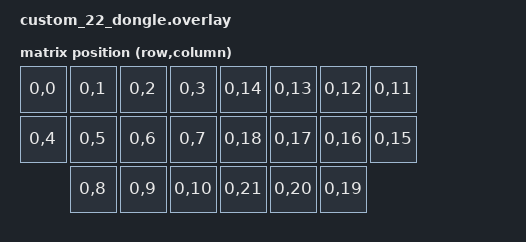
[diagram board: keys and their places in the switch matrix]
#include <dt-bindings/zmk/matrix_transform.h>

/ {
    chosen {
        zmk,matrix_transform = &default_transform;
        zmk,kscan = &kscan0;
        zephyr,display = &oled;
    };

    default_transform: keymap_transform_0 {
        compatible = "zmk,matrix-transform";
        columns = <22>;
        rows = <1>;
        map = <
        RC(0,0)  RC(0,1)  RC(0,2)  RC(0,3)   RC(0,14)  RC(0,13)  RC(0,12)  RC(0,11)
        RC(0,4)  RC(0,5)  RC(0,6)  RC(0,7)   RC(0,18)  RC(0,17)  RC(0,16)  RC(0,15)
                 RC(0,8)  RC(0,9)  RC(0,10)  RC(0,21)  RC(0,20)  RC(0,19)
        >;
    };
    
    kscan0: kscan {
        compatible = "zmk,kscan-mock";
        label = "KSCAN";
        columns = <1>;
        rows = <0>;
        events = <>;
    };
};

&xiao_i2c {
    status = "okay";

    oled: ssd1306@3c {
        compatible = "solomon,ssd1306fb";
        reg = <0x3c>;
        label = "DISPLAY";
        width = <128>;
        height = <64>;
        segment-offset = <0>;
        page-offset = <0>;
        display-offset = <0>;
        multiplex-ratio = <63>;
        prechargep = <0x22>;
        com_invdir = "true";
    };
};
&xiao_spi { status = "disabled"; };
&xiao_serial { status = "disabled"; };
